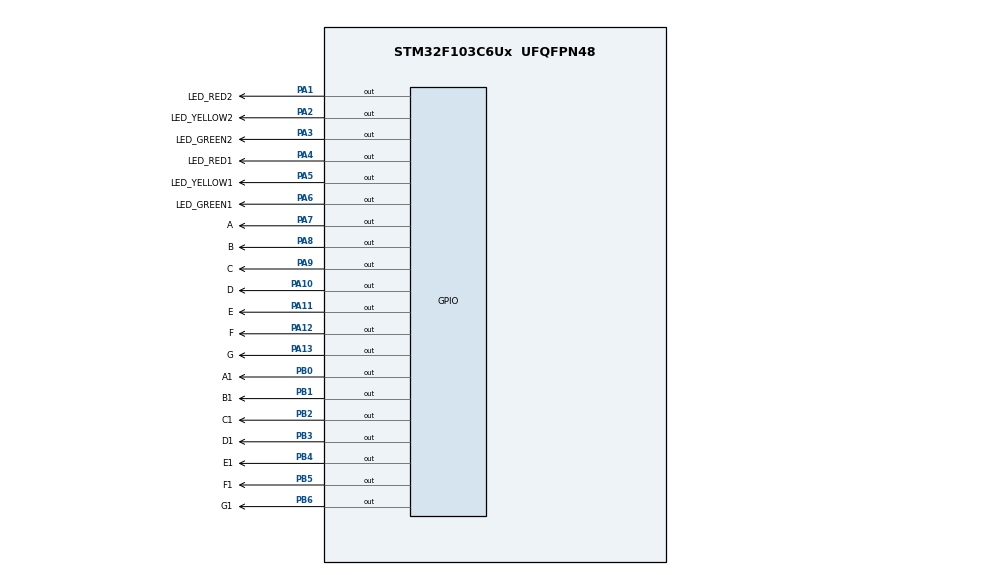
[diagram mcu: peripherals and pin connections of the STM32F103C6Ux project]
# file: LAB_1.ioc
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Mcu.Family=STM32F1
Mcu.Name=STM32F103C6Ux
Mcu.Package=UFQFPN48
NVIC.PriorityGroup=NVIC_PRIORITYGROUP_4
PA1.GPIO_Label=LED_RED2
PA1.Signal=GPIO_Output
PA10.GPIO_Label=D
PA10.Signal=GPIO_Output
PA11.GPIO_Label=E
PA11.Signal=GPIO_Output
PA12.GPIO_Label=F
PA12.Signal=GPIO_Output
PA13.GPIO_Label=G
PA13.Signal=GPIO_Output
PA2.GPIO_Label=LED_YELLOW2
PA2.Signal=GPIO_Output
PA3.GPIO_Label=LED_GREEN2
PA3.Signal=GPIO_Output
PA4.GPIO_Label=LED_RED1
PA4.Signal=GPIO_Output
PA5.GPIO_Label=LED_YELLOW1
PA5.Signal=GPIO_Output
PA6.GPIO_Label=LED_GREEN1
PA6.Signal=GPIO_Output
PA7.GPIO_Label=A
PA7.Signal=GPIO_Output
PA8.GPIO_Label=B
PA8.Signal=GPIO_Output
PA9.GPIO_Label=C
PA9.Signal=GPIO_Output
PB0.GPIO_Label=A1
PB0.Signal=GPIO_Output
PB1.GPIO_Label=B1
PB1.Signal=GPIO_Output
PB2.GPIO_Label=C1
PB2.Signal=GPIO_Output
PB3.GPIO_Label=D1
PB3.Signal=GPIO_Output
PB4.GPIO_Label=E1
PB4.Signal=GPIO_Output
PB5.GPIO_Label=F1
PB5.Signal=GPIO_Output
PB6.GPIO_Label=G1
PB6.Signal=GPIO_Output
ProjectManager.HeapSize=0x200
ProjectManager.StackSize=0x400
ProjectManager.TargetToolchain=STM32CubeIDE
RCC.APB1Freq_Value=8000000
RCC.APB2Freq_Value=8000000
VP_SYS_VS_ND.Mode=No_Debug
board=custom

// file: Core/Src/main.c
/* USER CODE BEGIN Header */
/**
  ******************************************************************************
  * @file           : main.c
  * @brief          : Main program body
  ******************************************************************************
  * @attention
  *
  * <h2><center>&copy; Copyright (c) 2024 STMicroelectronics.
  * All rights reserved.</center></h2>
  *
  * This software component is licensed by ST under BSD 3-Clause license,
  * the "License"; You may not use this file except in compliance with the
  * License. You may obtain a copy of the License at:
  *                        opensource.org/licenses/BSD-3-Clause
  *
  ******************************************************************************
  */
/* USER CODE END Header */
#include "main.h"

void SystemClock_Config(void);
static void MX_GPIO_Init(void);

/* USER CODE BEGIN 0 */

/**
  * @brief  The application entry point.
  * @retval int
  */
void display7SEG1(int num){
	switch(num){
		case 0:
			HAL_GPIO_WritePin ( A_GPIO_Port , A_Pin , GPIO_PIN_RESET ) ;
			HAL_GPIO_WritePin ( B_GPIO_Port , B_Pin , GPIO_PIN_RESET ) ;
			HAL_GPIO_WritePin ( C_GPIO_Port , C_Pin , GPIO_PIN_RESET ) ;
			HAL_GPIO_WritePin ( D_GPIO_Port , D_Pin , GPIO_PIN_RESET ) ;
			HAL_GPIO_WritePin ( E_GPIO_Port , E_Pin , GPIO_PIN_RESET ) ;
			HAL_GPIO_WritePin ( F_GPIO_Port , F_Pin , GPIO_PIN_RESET ) ;
			HAL_GPIO_WritePin ( G_GPIO_Port , G_Pin , GPIO_PIN_SET ) ;
			break;
		case 1:
			HAL_GPIO_WritePin ( A_GPIO_Port , A_Pin , GPIO_PIN_SET ) ;
			HAL_GPIO_WritePin ( B_GPIO_Port , B_Pin , GPIO_PIN_RESET ) ;
			HAL_GPIO_WritePin ( C_GPIO_Port , C_Pin , GPIO_PIN_RESET ) ;
			HAL_GPIO_WritePin ( D_GPIO_Port , D_Pin , GPIO_PIN_SET ) ;
			HAL_GPIO_WritePin ( E_GPIO_Port , E_Pin , GPIO_PIN_SET ) ;
			HAL_GPIO_WritePin ( F_GPIO_Port , F_Pin , GPIO_PIN_SET ) ;
			HAL_GPIO_WritePin ( G_GPIO_Port , G_Pin , GPIO_PIN_SET ) ;
			break;
		case 2:
			HAL_GPIO_WritePin ( A_GPIO_Port , A_Pin , GPIO_PIN_RESET ) ;
			HAL_GPIO_WritePin ( B_GPIO_Port , B_Pin , GPIO_PIN_RESET ) ;
			HAL_GPIO_WritePin ( C_GPIO_Port , C_Pin , GPIO_PIN_SET ) ;
			HAL_GPIO_WritePin ( D_GPIO_Port , D_Pin , GPIO_PIN_RESET ) ;
			HAL_GPIO_WritePin ( E_GPIO_Port , E_Pin , GPIO_PIN_RESET ) ;
			HAL_GPIO_WritePin ( F_GPIO_Port , F_Pin , GPIO_PIN_SET ) ;
			HAL_GPIO_WritePin ( G_GPIO_Port , G_Pin , GPIO_PIN_RESET ) ;
			break;
		case 3:
			HAL_GPIO_WritePin ( A_GPIO_Port , A_Pin , GPIO_PIN_RESET ) ;
			HAL_GPIO_WritePin ( B_GPIO_Port , B_Pin , GPIO_PIN_RESET ) ;
			HAL_GPIO_WritePin ( C_GPIO_Port , C_Pin , GPIO_PIN_RESET ) ;
			HAL_GPIO_WritePin ( D_GPIO_Port , D_Pin , GPIO_PIN_RESET ) ;
			HAL_GPIO_WritePin ( E_GPIO_Port , E_Pin , GPIO_PIN_SET ) ;
			HAL_GPIO_WritePin ( F_GPIO_Port , F_Pin , GPIO_PIN_SET ) ;
			HAL_GPIO_WritePin ( G_GPIO_Port , G_Pin , GPIO_PIN_RESET ) ;
			break;
		case 4:
			HAL_GPIO_WritePin ( A_GPIO_Port , A_Pin , GPIO_PIN_SET ) ;
			HAL_GPIO_WritePin ( B_GPIO_Port , B_Pin , GPIO_PIN_RESET ) ;
			HAL_GPIO_WritePin ( C_GPIO_Port , C_Pin , GPIO_PIN_RESET ) ;
			HAL_GPIO_WritePin ( D_GPIO_Port , D_Pin , GPIO_PIN_SET ) ;
			HAL_GPIO_WritePin ( E_GPIO_Port , E_Pin , GPIO_PIN_SET ) ;
			HAL_GPIO_WritePin ( F_GPIO_Port , F_Pin , GPIO_PIN_RESET ) ;
			HAL_GPIO_WritePin ( G_GPIO_Port , G_Pin , GPIO_PIN_RESET ) ;
			break;
		case 5:
			HAL_GPIO_WritePin ( A_GPIO_Port , A_Pin , GPIO_PIN_RESET ) ;
			HAL_GPIO_WritePin ( B_GPIO_Port , B_Pin , GPIO_PIN_SET ) ;
			HAL_GPIO_WritePin ( C_GPIO_Port , C_Pin , GPIO_PIN_RESET ) ;
			HAL_GPIO_WritePin ( D_GPIO_Port , D_Pin , GPIO_PIN_RESET ) ;
			HAL_GPIO_WritePin ( E_GPIO_Port , E_Pin , GPIO_PIN_SET ) ;
			HAL_GPIO_WritePin ( F_GPIO_Port , F_Pin , GPIO_PIN_RESET ) ;
			HAL_GPIO_WritePin ( G_GPIO_Port , G_Pin , GPIO_PIN_RESET ) ;
			break;
		case 6:
			HAL_GPIO_WritePin ( A_GPIO_Port , A_Pin , GPIO_PIN_RESET ) ;
			HAL_GPIO_WritePin ( B_GPIO_Port , B_Pin , GPIO_PIN_SET ) ;
			HAL_GPIO_WritePin ( C_GPIO_Port , C_Pin , GPIO_PIN_RESET ) ;
			HAL_GPIO_WritePin ( D_GPIO_Port , D_Pin , GPIO_PIN_RESET ) ;
			HAL_GPIO_WritePin ( E_GPIO_Port , E_Pin , GPIO_PIN_RESET ) ;
			HAL_GPIO_WritePin ( F_GPIO_Port , F_Pin , GPIO_PIN_RESET ) ;
			HAL_GPIO_WritePin ( G_GPIO_Port , G_Pin , GPIO_PIN_RESET ) ;
			break;
		case 7:
			HAL_GPIO_WritePin ( A_GPIO_Port , A_Pin , GPIO_PIN_RESET ) ;
			HAL_GPIO_WritePin ( B_GPIO_Port , B_Pin , GPIO_PIN_RESET ) ;
			HAL_GPIO_WritePin ( C_GPIO_Port , C_Pin , GPIO_PIN_RESET ) ;
			HAL_GPIO_WritePin ( D_GPIO_Port , D_Pin , GPIO_PIN_SET ) ;
			HAL_GPIO_WritePin ( E_GPIO_Port , E_Pin , GPIO_PIN_SET ) ;
			HAL_GPIO_WritePin ( F_GPIO_Port , F_Pin , GPIO_PIN_SET ) ;
			HAL_GPIO_WritePin ( G_GPIO_Port , G_Pin , GPIO_PIN_SET ) ;
			break;
		case 8:
			HAL_GPIO_WritePin ( A_GPIO_Port , A_Pin , GPIO_PIN_RESET ) ;
			HAL_GPIO_WritePin ( B_GPIO_Port , B_Pin , GPIO_PIN_RESET ) ;
			HAL_GPIO_WritePin ( C_GPIO_Port , C_Pin , GPIO_PIN_RESET ) ;
			HAL_GPIO_WritePin ( D_GPIO_Port , D_Pin , GPIO_PIN_RESET ) ;
			HAL_GPIO_WritePin ( E_GPIO_Port , E_Pin , GPIO_PIN_RESET ) ;
			HAL_GPIO_WritePin ( F_GPIO_Port , F_Pin , GPIO_PIN_RESET ) ;
			HAL_GPIO_WritePin ( G_GPIO_Port , G_Pin , GPIO_PIN_RESET ) ;
			break;
		case 9:
			HAL_GPIO_WritePin ( A_GPIO_Port , A_Pin , GPIO_PIN_RESET ) ;
			HAL_GPIO_WritePin ( B_GPIO_Port , B_Pin , GPIO_PIN_RESET ) ;
			HAL_GPIO_WritePin ( C_GPIO_Port , C_Pin , GPIO_PIN_RESET ) ;
			HAL_GPIO_WritePin ( D_GPIO_Port , D_Pin , GPIO_PIN_RESET ) ;
			HAL_GPIO_WritePin ( E_GPIO_Port , E_Pin , GPIO_PIN_SET ) ;
			HAL_GPIO_WritePin ( F_GPIO_Port , F_Pin , GPIO_PIN_RESET ) ;
			HAL_GPIO_WritePin ( G_GPIO_Port , G_Pin , GPIO_PIN_RESET ) ;
			break;
		default:
			break;
	}
}
void display7SEG2(int num){
	switch(num){
		case 0:
			HAL_GPIO_WritePin ( A1_GPIO_Port , A1_Pin , GPIO_PIN_RESET ) ;
			HAL_GPIO_WritePin ( B1_GPIO_Port , B1_Pin , GPIO_PIN_RESET ) ;
			HAL_GPIO_WritePin ( C_GPIO_Port , C1_Pin , GPIO_PIN_RESET ) ;
			HAL_GPIO_WritePin ( D1_GPIO_Port , D1_Pin , GPIO_PIN_RESET ) ;
			HAL_GPIO_WritePin ( E1_GPIO_Port , E1_Pin , GPIO_PIN_RESET ) ;
			HAL_GPIO_WritePin ( F1_GPIO_Port , F1_Pin , GPIO_PIN_RESET ) ;
			HAL_GPIO_WritePin ( G1_GPIO_Port , G1_Pin , GPIO_PIN_SET ) ;
			break;
		case 1:
			HAL_GPIO_WritePin ( A1_GPIO_Port , A1_Pin , GPIO_PIN_SET ) ;
			HAL_GPIO_WritePin ( B1_GPIO_Port , B1_Pin , GPIO_PIN_RESET ) ;
			HAL_GPIO_WritePin ( C1_GPIO_Port , C1_Pin , GPIO_PIN_RESET ) ;
			HAL_GPIO_WritePin ( D1_GPIO_Port , D1_Pin , GPIO_PIN_SET ) ;
			HAL_GPIO_WritePin ( E1_GPIO_Port , E1_Pin , GPIO_PIN_SET ) ;
			HAL_GPIO_WritePin ( F1_GPIO_Port , F1_Pin , GPIO_PIN_SET ) ;
			HAL_GPIO_WritePin ( G1_GPIO_Port , G1_Pin , GPIO_PIN_SET ) ;
			break;
		case 2:
			HAL_GPIO_WritePin ( A1_GPIO_Port , A1_Pin , GPIO_PIN_RESET ) ;
			HAL_GPIO_WritePin ( B1_GPIO_Port , B1_Pin , GPIO_PIN_RESET ) ;
			HAL_GPIO_WritePin ( C1_GPIO_Port , C1_Pin , GPIO_PIN_SET ) ;
			HAL_GPIO_WritePin ( D1_GPIO_Port , D1_Pin , GPIO_PIN_RESET ) ;
			HAL_GPIO_WritePin ( E1_GPIO_Port , E1_Pin , GPIO_PIN_RESET ) ;
			HAL_GPIO_WritePin ( F1_GPIO_Port , F1_Pin , GPIO_PIN_SET ) ;
			HAL_GPIO_WritePin ( G1_GPIO_Port , G1_Pin , GPIO_PIN_RESET ) ;
			break;
		case 3:
			HAL_GPIO_WritePin ( A1_GPIO_Port , A1_Pin , GPIO_PIN_RESET ) ;
			HAL_GPIO_WritePin ( B1_GPIO_Port , B1_Pin , GPIO_PIN_RESET ) ;
			HAL_GPIO_WritePin ( C1_GPIO_Port , C1_Pin , GPIO_PIN_RESET ) ;
			HAL_GPIO_WritePin ( D1_GPIO_Port , D1_Pin , GPIO_PIN_RESET ) ;
			HAL_GPIO_WritePin ( E1_GPIO_Port , E1_Pin , GPIO_PIN_SET ) ;
			HAL_GPIO_WritePin ( F1_GPIO_Port , F1_Pin , GPIO_PIN_SET ) ;
			HAL_GPIO_WritePin ( G1_GPIO_Port , G1_Pin , GPIO_PIN_RESET ) ;
			break;
		case 4:
			HAL_GPIO_WritePin ( A1_GPIO_Port , A1_Pin , GPIO_PIN_SET ) ;
			HAL_GPIO_WritePin ( B1_GPIO_Port , B1_Pin , GPIO_PIN_RESET ) ;
			HAL_GPIO_WritePin ( C1_GPIO_Port , C1_Pin , GPIO_PIN_RESET ) ;
			HAL_GPIO_WritePin ( D1_GPIO_Port , D1_Pin , GPIO_PIN_SET ) ;
			HAL_GPIO_WritePin ( E1_GPIO_Port , E1_Pin , GPIO_PIN_SET ) ;
			HAL_GPIO_WritePin ( F1_GPIO_Port , F1_Pin , GPIO_PIN_RESET ) ;
			HAL_GPIO_WritePin ( G1_GPIO_Port , G1_Pin , GPIO_PIN_RESET ) ;
			break;
		case 5:
			HAL_GPIO_WritePin ( A1_GPIO_Port , A1_Pin , GPIO_PIN_RESET ) ;
			HAL_GPIO_WritePin ( B1_GPIO_Port , B1_Pin , GPIO_PIN_SET ) ;
			HAL_GPIO_WritePin ( C1_GPIO_Port , C1_Pin , GPIO_PIN_RESET ) ;
			HAL_GPIO_WritePin ( D1_GPIO_Port , D1_Pin , GPIO_PIN_RESET ) ;
			HAL_GPIO_WritePin ( E1_GPIO_Port , E1_Pin , GPIO_PIN_SET ) ;
			HAL_GPIO_WritePin ( F1_GPIO_Port , F1_Pin , GPIO_PIN_RESET ) ;
			HAL_GPIO_WritePin ( G1_GPIO_Port , G1_Pin , GPIO_PIN_RESET ) ;
			break;
		case 6:
			HAL_GPIO_WritePin ( A1_GPIO_Port , A1_Pin , GPIO_PIN_RESET ) ;
			HAL_GPIO_WritePin ( B1_GPIO_Port , B1_Pin , GPIO_PIN_SET ) ;
			HAL_GPIO_WritePin ( C1_GPIO_Port , C1_Pin , GPIO_PIN_RESET ) ;
			HAL_GPIO_WritePin ( D1_GPIO_Port , D1_Pin , GPIO_PIN_RESET ) ;
			HAL_GPIO_WritePin ( E1_GPIO_Port , E1_Pin , GPIO_PIN_RESET ) ;
			HAL_GPIO_WritePin ( F1_GPIO_Port , F1_Pin , GPIO_PIN_RESET ) ;
			HAL_GPIO_WritePin ( G1_GPIO_Port , G1_Pin , GPIO_PIN_RESET ) ;
			break;
		case 7:
			HAL_GPIO_WritePin ( A1_GPIO_Port , A1_Pin , GPIO_PIN_RESET ) ;
			HAL_GPIO_WritePin ( B1_GPIO_Port , B1_Pin , GPIO_PIN_RESET ) ;
			HAL_GPIO_WritePin ( C1_GPIO_Port , C1_Pin , GPIO_PIN_RESET ) ;
			HAL_GPIO_WritePin ( D1_GPIO_Port , D1_Pin , GPIO_PIN_SET ) ;
			HAL_GPIO_WritePin ( E1_GPIO_Port , E1_Pin , GPIO_PIN_SET ) ;
			HAL_GPIO_WritePin ( F1_GPIO_Port , F1_Pin , GPIO_PIN_SET ) ;
			HAL_GPIO_WritePin ( G1_GPIO_Port , G1_Pin , GPIO_PIN_SET ) ;
			break;
		case 8:
			HAL_GPIO_WritePin ( A1_GPIO_Port , A1_Pin , GPIO_PIN_RESET ) ;
			HAL_GPIO_WritePin ( B1_GPIO_Port , B1_Pin , GPIO_PIN_RESET ) ;
			HAL_GPIO_WritePin ( C1_GPIO_Port , C1_Pin , GPIO_PIN_RESET ) ;
			HAL_GPIO_WritePin ( D1_GPIO_Port , D1_Pin , GPIO_PIN_RESET ) ;
			HAL_GPIO_WritePin ( E1_GPIO_Port , E1_Pin , GPIO_PIN_RESET ) ;
			HAL_GPIO_WritePin ( F1_GPIO_Port , F1_Pin , GPIO_PIN_RESET ) ;
			HAL_GPIO_WritePin ( G1_GPIO_Port , G1_Pin , GPIO_PIN_RESET ) ;
			break;
		case 9:
			HAL_GPIO_WritePin ( A1_GPIO_Port , A1_Pin , GPIO_PIN_RESET ) ;
			HAL_GPIO_WritePin ( B1_GPIO_Port , B1_Pin , GPIO_PIN_RESET ) ;
			HAL_GPIO_WritePin ( C1_GPIO_Port , C1_Pin , GPIO_PIN_RESET ) ;
			HAL_GPIO_WritePin ( D1_GPIO_Port , D1_Pin , GPIO_PIN_RESET ) ;
			HAL_GPIO_WritePin ( E1_GPIO_Port , E1_Pin , GPIO_PIN_SET ) ;
			HAL_GPIO_WritePin ( F1_GPIO_Port , F1_Pin , GPIO_PIN_RESET ) ;
			HAL_GPIO_WritePin ( G1_GPIO_Port , G1_Pin , GPIO_PIN_RESET ) ;
			break;
		default:
			break;
	}
}
void ledonway1(char *led) {
    HAL_GPIO_WritePin(LED_RED1_GPIO_Port, LED_RED1_Pin, led == "RED" ? RESET : SET);
    HAL_GPIO_WritePin(LED_YELLOW1_GPIO_Port, LED_YELLOW1_Pin, led == "YELLOW" ? RESET : SET);
    HAL_GPIO_WritePin(LED_GREEN1_GPIO_Port, LED_GREEN1_Pin, led == "GREEN" ? RESET : SET);
}

void ledonway2(char *led) {
    HAL_GPIO_WritePin(LED_RED2_GPIO_Port, LED_RED2_Pin, led == "RED" ? RESET : SET);
    HAL_GPIO_WritePin(LED_YELLOW2_GPIO_Port, LED_YELLOW2_Pin, led == "YELLOW" ? RESET : SET);
    HAL_GPIO_WritePin(LED_GREEN2_GPIO_Port, LED_GREEN2_Pin, led == "GREEN" ? RESET : SET);
}

void update7SegmentWay1(int remainingTime) {
    display7SEG1(remainingTime);
}

void update7SegmentWay2(int remainingTime) {
    display7SEG2(remainingTime);
}
/* USER CODE END 0 */

int main(void)
{

  /* MCU Configuration--------------------------------------------------------*/

  /* Reset of all peripherals, Initializes the Flash interface and the Systick. */
  HAL_Init();

  /* Configure the system clock */
  SystemClock_Config();

  /* Initialize all configured peripherals */
  MX_GPIO_Init();
  /* USER CODE BEGIN 2 */
  int stateWay1 = 0;
     int counterWay1 = 800;  // RED1 thời gian ban đầu = 8 giây

     int stateWay2 = 0;
     int counterWay2 = 500;  // GREEN2 thời gian ban đầu = 5 giây

  /* USER CODE END 2 */

  /* Infinite loop */
  /* USER CODE BEGIN WHILE */
  while (1)
  {
	  switch (stateWay1) {
	             case 0:
	                 ledonway1("RED");
	                 if (counterWay1 <= 0) {
	                     stateWay1 = 1;
	                     counterWay1 = 500; // GREEN1
	                 }
	                 update7SegmentWay1(counterWay1 / 100);
	                 break;

	             case 1:
	                 ledonway1("GREEN");
	                 if (counterWay1 <= 0) {
	                     stateWay1 = 2;
	                     counterWay1 = 300;  // YELLOW1
	                 }
	                 update7SegmentWay1(counterWay1 / 100);
	                 break;

	             case 2:
	                 ledonway1("YELLOW");
	                 if (counterWay1 <= 0) {
	                     stateWay1 = 0;
	                     counterWay1 = 800;  // RED1 = 8 giây
	                 }
	                 update7SegmentWay1(counterWay1 / 100);
	                 break;
	         }

	         switch (stateWay2) {
	             case 0:
	                 ledonway2("GREEN");
	                 if (counterWay2 <= 0) {
	                     stateWay2 = 1;
	                     counterWay2 = 300;
	                 }
	                 update7SegmentWay2(counterWay2 / 100);
	                 break;

	             case 1:
	                 ledonway2("YELLOW");
	                 if (counterWay2 <= 0) {
	                     stateWay2 = 2;
	                     counterWay2 = 800;
	                 }
	                 update7SegmentWay2(counterWay2 / 100);
	                 break;

	             case 2:
	                 ledonway2("RED");
	                 if (counterWay2 <= 0) {
	                     stateWay2 = 0;
	                     counterWay2 = 500;
	                 }
	                 update7SegmentWay2(counterWay2 / 100);
	                 break;
	         }

	         counterWay1--;
	         counterWay2--;

	         HAL_Delay(10);
    /* USER CODE END WHILE */

  }
}

void SystemClock_Config(void)
{
  RCC_OscInitTypeDef RCC_OscInitStruct = {0};
  RCC_ClkInitTypeDef RCC_ClkInitStruct = {0};

  /** Initializes the RCC Oscillators according to the specified parameters
  * in the RCC_OscInitTypeDef structure.
  */
  RCC_OscInitStruct.OscillatorType = RCC_OSCILLATORTYPE_HSI;
  RCC_OscInitStruct.HSIState = RCC_HSI_ON;
  RCC_OscInitStruct.HSICalibrationValue = RCC_HSICALIBRATION_DEFAULT;
  RCC_OscInitStruct.PLL.PLLState = RCC_PLL_NONE;
  if (HAL_RCC_OscConfig(&RCC_OscInitStruct) != HAL_OK)
  {
    Error_Handler();
  }
  /** Initializes the CPU, AHB and APB buses clocks
  */
  RCC_ClkInitStruct.ClockType = RCC_CLOCKTYPE_HCLK|RCC_CLOCKTYPE_SYSCLK
                              |RCC_CLOCKTYPE_PCLK1|RCC_CLOCKTYPE_PCLK2;
  RCC_ClkInitStruct.SYSCLKSource = RCC_SYSCLKSOURCE_HSI;
  RCC_ClkInitStruct.AHBCLKDivider = RCC_SYSCLK_DIV1;
  RCC_ClkInitStruct.APB1CLKDivider = RCC_HCLK_DIV1;
  RCC_ClkInitStruct.APB2CLKDivider = RCC_HCLK_DIV1;

  if (HAL_RCC_ClockConfig(&RCC_ClkInitStruct, FLASH_LATENCY_0) != HAL_OK)
  {
    Error_Handler();
  }
}

static void MX_GPIO_Init(void)
{
  GPIO_InitTypeDef GPIO_InitStruct = {0};

  /* GPIO Ports Clock Enable */
  __HAL_RCC_GPIOA_CLK_ENABLE();
  __HAL_RCC_GPIOB_CLK_ENABLE();

  /*Configure GPIO pin Output Level */
  HAL_GPIO_WritePin(GPIOA, LED_RED2_Pin|LED_YELLOW2_Pin|LED_GREEN2_Pin|LED_RED1_Pin
                          |LED_YELLOW1_Pin|LED_GREEN1_Pin|A_Pin|B_Pin
                          |C_Pin|D_Pin|E_Pin|F_Pin
                          |G_Pin, GPIO_PIN_RESET);

  /*Configure GPIO pin Output Level */
  HAL_GPIO_WritePin(GPIOB, A1_Pin|B1_Pin|C1_Pin|D1_Pin
                          |E1_Pin|F1_Pin|G1_Pin, GPIO_PIN_RESET);

  /*Configure GPIO pins : LED_RED2_Pin LED_YELLOW2_Pin LED_GREEN2_Pin LED_RED1_Pin
                           LED_YELLOW1_Pin LED_GREEN1_Pin A_Pin B_Pin
                           C_Pin D_Pin E_Pin F_Pin
                           G_Pin */
  GPIO_InitStruct.Pin = LED_RED2_Pin|LED_YELLOW2_Pin|LED_GREEN2_Pin|LED_RED1_Pin
                          |LED_YELLOW1_Pin|LED_GREEN1_Pin|A_Pin|B_Pin
                          |C_Pin|D_Pin|E_Pin|F_Pin
                          |G_Pin;
  GPIO_InitStruct.Mode = GPIO_MODE_OUTPUT_PP;
  GPIO_InitStruct.Pull = GPIO_NOPULL;
  GPIO_InitStruct.Speed = GPIO_SPEED_FREQ_LOW;
  HAL_GPIO_Init(GPIOA, &GPIO_InitStruct);

  /*Configure GPIO pins : A1_Pin B1_Pin C1_Pin D1_Pin
                           E1_Pin F1_Pin G1_Pin */
  GPIO_InitStruct.Pin = A1_Pin|B1_Pin|C1_Pin|D1_Pin
                          |E1_Pin|F1_Pin|G1_Pin;
  GPIO_InitStruct.Mode = GPIO_MODE_OUTPUT_PP;
  GPIO_InitStruct.Pull = GPIO_NOPULL;
  GPIO_InitStruct.Speed = GPIO_SPEED_FREQ_LOW;
  HAL_GPIO_Init(GPIOB, &GPIO_InitStruct);

}

void Error_Handler(void)
{
  __disable_irq();
  while (1)
  {
  }
}

/************************ (C) COPYRIGHT STMicroelectronics *****END OF FILE****/
